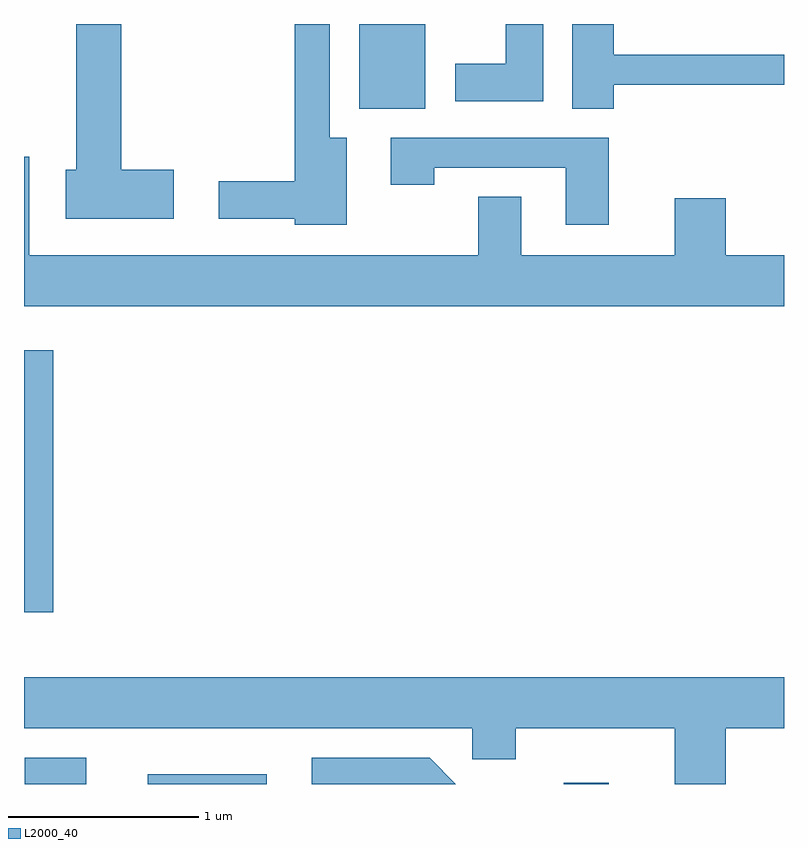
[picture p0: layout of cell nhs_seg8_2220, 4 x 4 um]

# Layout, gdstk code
import gdstk
lib = gdstk.Library(unit=1e-6, precision=1e-09)
def R(c, l, rs):  # rectangles x0, y0, x1, y1
    for r in rs: c.add(gdstk.rectangle(r[:2], r[2:], *l))
def P(c, l, *ps):  # polygons
    for p in ps: c.add(gdstk.Polygon(p, *l))
L2000_40 = (2000, 40)

nhs_seg8_2220 = lib.new_cell('nhs_seg8_2220')
R(nhs_seg8_2220, L2000_40, [(251.616,1838.342,251.938,1838.479), (252.261,1838.342,252.889,1838.394), (254.453,1838.342,254.689,1838.349), (251.611,1839.246,251.764,1840.624), (253.376,1841.896,253.724,1842.342)])
P(nhs_seg8_2220, L2000_40, [(254.344,1842.342),(254.146,1842.342),(254.146,1842.134),(253.881,1842.134),(253.881,1841.936),(254.344,1841.936)],
  [(254.714,1842.021),(255.611,1842.021),(255.611,1842.179),(254.714,1842.179),(254.714,1842.342),(254.496,1842.342),(254.496,1841.896),(254.714,1841.896)],
  [(253.309,1841.744),(253.219,1841.744),(253.219,1842.342),(253.036,1842.342),(253.036,1841.514),(252.636,1841.514),(252.636,1841.316),(253.036,1841.316),(253.036,1841.286),(253.309,1841.286)],
  [(252.399,1841.574),(252.124,1841.574),(252.124,1842.342),(251.886,1842.342),(251.886,1841.574),(251.831,1841.574),(251.831,1841.316),(252.399,1841.316)],
  [(254.689,1841.744),(253.541,1841.744),(253.541,1841.496),(253.769,1841.496),(253.769,1841.586),(254.461,1841.586),(254.461,1841.286),(254.689,1841.286)],
  [(255.611,1841.124),(255.304,1841.124),(255.304,1841.424),(255.036,1841.424),(255.036,1841.124),(254.229,1841.124),(254.229,1841.434),(254.001,1841.434),(254.001,1841.124),(251.639,1841.124),(251.639,1841.644),(251.611,1841.644),(251.611,1840.856),(255.611,1840.856)],
  [(255.304,1838.636),(255.611,1838.636),(255.611,1838.904),(251.611,1838.904),(251.611,1838.636),(253.971,1838.636),(253.971,1838.471),(254.199,1838.471),(254.199,1838.636),(255.036,1838.636),(255.036,1838.342),(255.304,1838.342)],
  [(253.747,1838.479),(253.126,1838.479),(253.126,1838.342),(253.884,1838.342)])

lib.write_gds('nhs_seg8_2220.gds')
